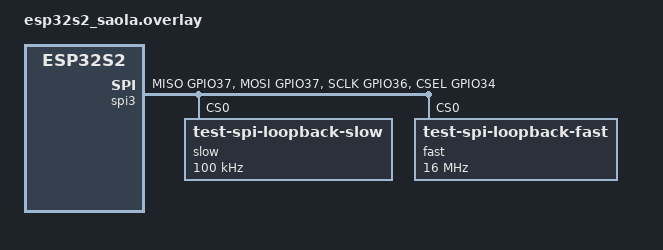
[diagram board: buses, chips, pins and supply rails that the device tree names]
/*
 * Copyright (c) 2022 Kumar Gala <galak@kernel.org>
 *
 * SPDX-License-Identifier: Apache-2.0
 */

&pinctrl {
	spim3_loopback: spim3_loopback {
		group1 {
			pinmux = <SPIM3_MISO_GPIO37>;
			output-enable; /* Enable internal loopback */
		};
		group2 {
			pinmux = <SPIM3_MOSI_GPIO37>;
			input-enable; /* Enable internal loopback */
		};
		group3 {
			pinmux = <SPIM3_SCLK_GPIO36>,
				<SPIM3_CSEL_GPIO34>;
		};
	};
};

&spi3 {
	slow@0 {
		compatible = "test-spi-loopback-slow";
		reg = <0>;
		spi-max-frequency = <DT_FREQ_K(100)>;
	};
	fast@0 {
		compatible = "test-spi-loopback-fast";
		reg = <0>;
		spi-max-frequency = <DT_FREQ_M(16)>;
	};
};

&spi3 {
	dma-enabled;
	pinctrl-0 = <&spim3_loopback>;
};
